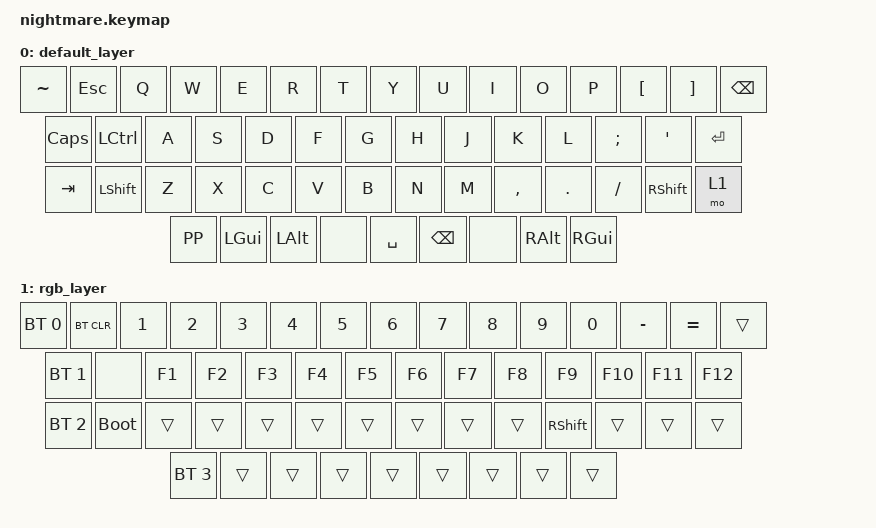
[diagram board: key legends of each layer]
/*
 * Copyright (c) 2020 The ZMK Contributors
 *
 * SPDX-License-Identifier: MIT
 */

#include <behaviors.dtsi>
#include <dt-bindings/zmk/keys.h>
#include <dt-bindings/zmk/bt.h>

#define SPLIT_BAR 1

/ {
	chosen {
#ifdef SPLIT_BAR
		zmk,matrix_transform = &split_space_transform;
#endif
	};

        keymap {
                compatible = "zmk,keymap";

		default_layer {
// |----------------------------------------------------------------------------------------------
// |  TILDE  | ESC  |  Q  |  W  |  E  |  R  |  T  |  Y  |  U  |  I  |  O  |  P  |  [  |  ]  |  BKSP   |
// |  CAPS  | CTL   |  A  |  S  |  D  |  F  |  G  |  H  |  J  |  K  |  L  |  ;  |  '  |     ENTER    |
// |  TAB  |  SHIFT  |  Z  |  X  |  C  |  V  |  B  |  N  |  M  |  ,  |  .  |  /  |  SHIFT    |  Fn  |
// |  K_PP  |       |  WIN  |  ALT  |            SPACE              |  ALT  |  WIN  |                |
// |----------------------------------------------------------------------------------------------
			bindings = <
&kp TILDE    &kp ESC &kp Q  &kp W  &kp E  &kp R  &kp T  &kp Y  &kp U  &kp I  &kp O  &kp P  &kp LBKT  &kp RBKT  &kp BSPC
&kp  CAPS   &kp LCTRL  &kp A  &kp S  &kp D  &kp F  &kp G  &kp H  &kp J  &kp K  &kp L  &kp SEMI &kp SQT       &kp RET
&kp TAB   &kp LSHFT   &kp Z  &kp X  &kp C  &kp V  &kp B  &kp N  &kp M  &kp COMMA &kp DOT &kp FSLH    &kp RSHFT  &mo 1

#ifdef SPLIT_BAR
&kp K_PP         &kp LGUI &kp LALT &none        &kp SPACE    &kp BSPC           &none           &kp RALT  &kp RGUI
#else
&kp K_PP         &kp LGUI &kp LALT        &kp SPACE                     &kp RALT  &kp RGUI
#endif
			>;
		};

		rgb_layer {
// ----------------------------------------------------------------------------------------------------------------------------------
// | BT 1 |  BT CLR | N1  |  N2 |  N3 |    N4   |    N5   |    N6   |    N7   | N8  |   N9  |   N0 |   MINUS  |   EQUAL  |           |
// | BT 2 |          | F1 |  F2  | F3 |    F4   |    F5   |    F6   |     F7 |  F8 |  F9   |  F10 |  F11   |      F12                |
// | BT 2 |             |     |      |      |     |     |     |     |     |  SHIFT   |     |                                         |
// | BT 2 |    bootloader     |      |      |                                    | PRT SCR |       |                                 |
// ----------------------------------------------------------------------------------------------------------------------------------
			bindings = <
&bt BT_SEL 0 &bt BT_CLR &kp N1    &kp N2  &kp N3  &kp N4 &kp N5 &kp N6  &kp N7  &kp N8  &kp N9  &kp N0  &kp MINUS  &kp EQUAL    &trans 
&bt BT_SEL 1 &none  &kp F1  &kp F2  &kp F3 &kp F4 &kp F5 &kp F6 &kp F7 &kp F8   &kp F9   &kp F10   &kp F11        &kp F12
&bt BT_SEL 2 &bootloader   &trans    &trans    &trans   &trans          &trans          &trans          &trans          &trans   &kp RSHFT   &trans                          &trans                        &trans

#ifdef SPLIT_BAR
&bt BT_SEL 3       &trans &trans &trans              &trans          &trans              &trans           &trans  &trans
#else
&bt BT_SEL 3       &trans   &trans                            &trans                                      &kp PSCRN      &trans
#endif
			>;
		};
        };
};
